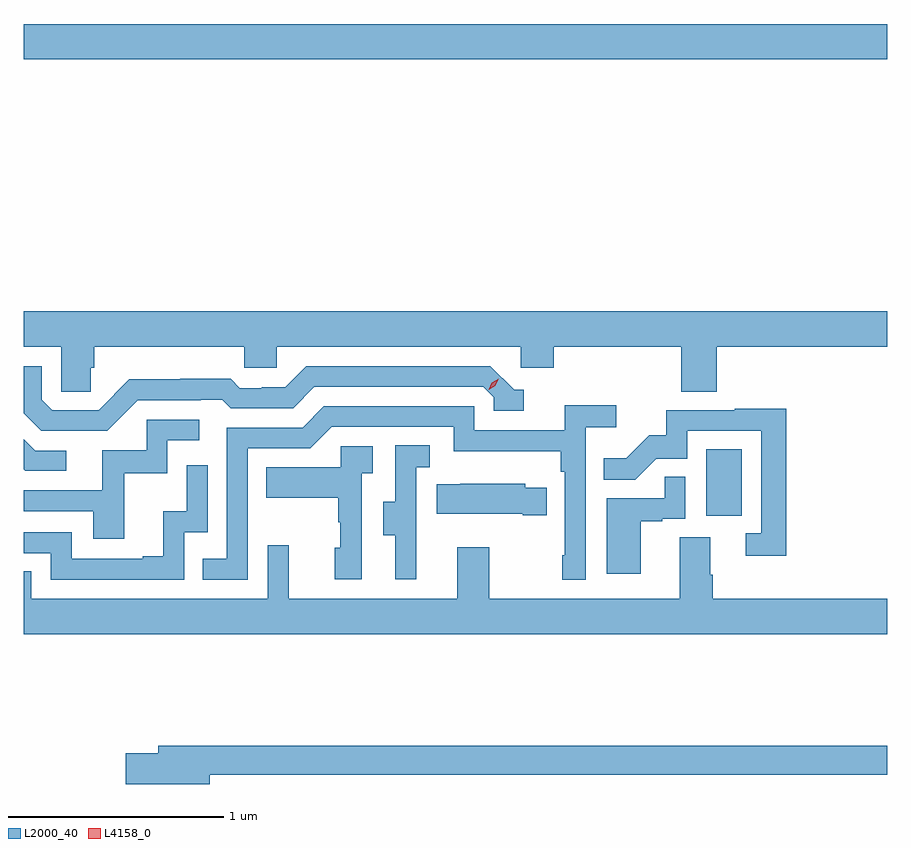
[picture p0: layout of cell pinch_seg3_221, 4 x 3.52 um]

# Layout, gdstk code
import gdstk
lib = gdstk.Library(unit=1e-6, precision=1e-09)
def R(c, l, rs):  # rectangles x0, y0, x1, y1
    for r in rs: c.add(gdstk.rectangle(r[:2], r[2:], *l))
def P(c, l, *ps):  # polygons
    for p in ps: c.add(gdstk.Polygon(p, *l))
L2000_40 = (2000, 40)
L4158_0 = (4158, 0)

pinch_seg3_221 = lib.new_cell('pinch_seg3_221')
R(pinch_seg3_221, L2000_40, [(950.798,740.094,950.962,740.401), (947.635,742.208,951.635,742.372)])
P(pinch_seg3_221, L2000_40, [(947.945,740.778),(947.96,740.778),(947.96,740.876),(948.657,740.876),(948.657,740.778),(948.807,740.778),(948.807,740.876),(949.938,740.876),(949.938,740.778),(950.09,740.778),(950.09,740.876),(950.681,740.876),(950.681,740.668),(950.846,740.668),(950.846,740.876),(951.635,740.876),(951.635,741.04),(947.635,741.04),(947.635,740.876),(947.808,740.876),(947.808,740.668),(947.945,740.668)],
  [(948.162,740.628),(948.455,740.628),(948.455,740.631),(948.554,740.631),(948.593,740.592),(948.882,740.592),(948.981,740.691),(949.764,740.691),(949.812,740.643),(949.812,740.58),(949.951,740.58),(949.951,740.676),(949.908,740.676),(949.797,740.787),(948.944,740.787),(948.845,740.688),(948.738,740.688),(948.738,740.685),(948.635,740.685),(948.593,740.728),(948.36,740.728),(948.36,740.725),(948.124,740.725),(947.982,740.583),(947.766,740.583),(947.718,740.631),(947.718,740.787),(947.635,740.787),(947.635,740.567),(947.715,740.487),(948.021,740.487)],
  [(948.672,740.406),(948.963,740.406),(949.062,740.505),(949.626,740.505),(949.626,740.393),(950.122,740.393),(950.122,740.297),(950.142,740.297),(950.142,739.909),(950.13,739.909),(950.13,739.797),(950.238,739.797),(950.238,740.504),(950.38,740.504),(950.38,740.606),(950.141,740.606),(950.141,740.49),(949.722,740.49),(949.722,740.601),(949.025,740.601),(948.926,740.502),(948.576,740.502),(948.576,739.893),(948.463,739.893),(948.463,739.797),(948.672,739.797)],
  [(951.167,740.588),(950.929,740.588),(950.929,740.583),(950.611,740.583),(950.611,740.466),(950.534,740.466),(950.427,740.359),(950.323,740.359),(950.323,740.26),(950.467,740.26),(950.565,740.358),(950.709,740.358),(950.709,740.487),(951.051,740.487),(951.051,740.013),(950.979,740.013),(950.979,739.908),(951.167,739.908)],
  [(948.101,740.289),(948.3,740.289),(948.3,740.442),(948.448,740.442),(948.448,740.538),(948.204,740.538),(948.204,740.397),(947.999,740.397),(947.999,740.211),(947.635,740.211),(947.635,740.115),(947.957,740.115),(947.957,739.986),(948.101,739.986)],
  [(947.83,740.394),(947.688,740.394),(947.635,740.447),(947.635,740.308),(947.642,740.301),(947.83,740.301)],
  [(949.454,740.013),(949.452,740.013),(949.452,740.317),(949.516,740.317),(949.516,740.42),(949.356,740.42),(949.356,740.157),(949.301,740.157),(949.301,740.002),(949.355,740.002),(949.355,739.8),(949.454,739.8)],
  [(949.2,740.291),(949.252,740.291),(949.252,740.415),(949.104,740.415),(949.104,740.317),(948.757,740.317),(948.757,740.177),(949.092,740.177),(949.092,740.063),(949.102,740.063),(949.102,739.944),(949.076,739.944),(949.076,739.8),(949.2,739.8)],
  [(948.378,740.016),(948.486,740.016),(948.486,740.326),(948.39,740.326),(948.39,740.114),(948.281,740.114),(948.281,739.906),(948.185,739.906),(948.185,739.893),(947.856,739.893),(947.856,740.016),(947.635,740.016),(947.635,739.92),(947.76,739.92),(947.76,739.797),(948.378,739.797)],
  [(950.494,740.067),(950.594,740.067),(950.594,740.079),(950.7,740.079),(950.7,740.273),(950.605,740.273),(950.605,740.175),(950.336,740.175),(950.336,739.824),(950.494,739.824)],
  [(950.057,740.224),(949.959,740.224),(949.959,740.242),(949.657,740.242),(949.657,740.239),(949.549,740.239),(949.549,740.102),(949.946,740.102),(949.946,740.095),(950.057,740.095)],
  [(951.635,739.708),(950.828,739.708),(950.828,739.82),(950.815,739.82),(950.815,739.994),(950.675,739.994),(950.675,739.708),(949.791,739.708),(949.791,739.948),(949.643,739.948),(949.643,739.708),(948.863,739.708),(948.863,739.957),(948.765,739.957),(948.765,739.708),(947.67,739.708),(947.67,739.835),(947.635,739.835),(947.635,739.544),(951.635,739.544)],
  [(948.496,738.892),(951.635,738.892),(951.635,739.028),(948.257,739.028),(948.257,738.992),(948.108,738.992),(948.108,738.85),(948.496,738.85)])
P(pinch_seg3_221, L4158_0, [(949.788,740.677),(949.788,740.677),(949.804,740.71),(949.835,740.729),(949.836,740.729),(949.836,740.728),(949.819,740.696),(949.788,740.677)])

lib.write_gds('pinch_seg3_221.gds')
